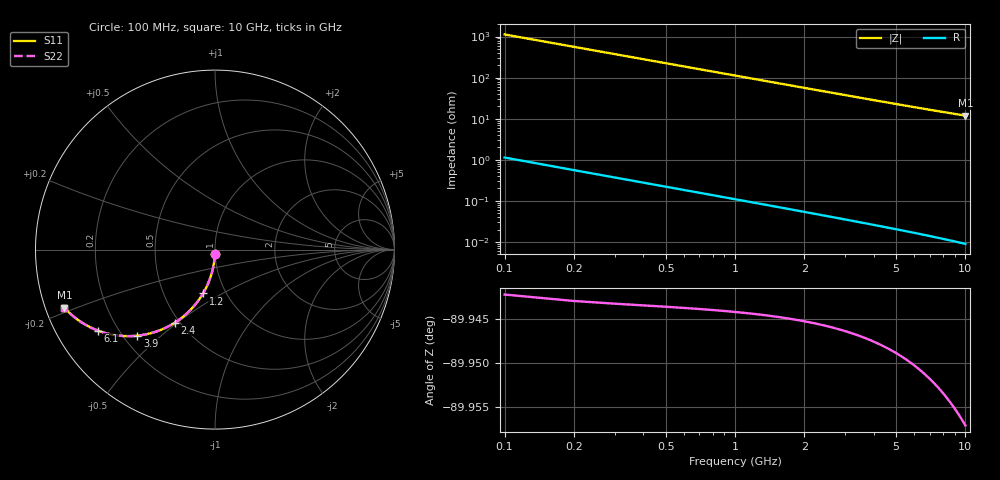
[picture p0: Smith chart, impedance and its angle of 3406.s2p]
# Hz S RI R 50.00
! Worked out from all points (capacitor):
!   100 points, 100 MHz to 10 GHz, reference 50 ohm
!   read as one part in shunt: C = 1.42 pF near 100 MHz
!   lowest |Z| = 11.9 ohm at 10 GHz (marker M1)
!   S11 on the Smith chart (normalised r, x): 100 MHz: 1.00, -0.04; 1.2 GHz: 0.78, -0.41; 2.4 GHz: 0.47, -0.49; 3.9 GHz: 0.26, -0.42; 6.1 GHz: 0.13, -0.31; 10 GHz: 0.05, -0.19
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1e8  -0.000418 -0.0218  0.9994 -0.0226  0.9994 -0.0226  -0.000418 -0.0218
2e8  -0.00192 -0.0436  0.9979 -0.0452  0.9979 -0.0452  -0.00192 -0.0436
3e8  -0.0044 -0.0653  0.9954 -0.0676  0.9954 -0.0676  -0.0044 -0.0653
4e8  -0.00784 -0.0867  0.992 -0.0898  0.992 -0.0898  -0.00784 -0.0867
5e8  -0.0122 -0.1079  0.9876 -0.1118  0.9876 -0.1118  -0.0122 -0.1079
6e8  -0.0175 -0.1288  0.9823 -0.1335  0.9823 -0.1335  -0.0175 -0.1288
7e8  -0.0237 -0.1493  0.9761 -0.1548  0.9761 -0.1548  -0.0237 -0.1493
9e8  -0.0386 -0.189  0.9611 -0.196  0.9611 -0.196  -0.0386 -0.189
1.2e9  -0.0667 -0.2445  0.933 -0.2539  0.933 -0.2539  -0.0667 -0.2445
1.5e9  -0.1005 -0.2945  0.8992 -0.3062  0.8992 -0.3062  -0.1005 -0.2945
1.8e9  -0.1386 -0.3382  0.8611 -0.3523  0.8611 -0.3523  -0.1386 -0.3382
2.1e9  -0.1798 -0.3754  0.8199 -0.3919  0.8199 -0.3919  -0.1798 -0.3754
2.4e9  -0.2227 -0.4063  0.7769 -0.4251  0.7769 -0.4251  -0.2227 -0.4063
2.9e9  -0.2952 -0.4443  0.7043 -0.4671  0.7043 -0.4671  -0.2952 -0.4443
3.4e9  -0.3658 -0.4678  0.6337 -0.4946  0.6337 -0.4946  -0.3658 -0.4678
3.9e9  -0.4319 -0.4795  0.5674 -0.5103  0.5674 -0.5103  -0.4319 -0.4795
5.1e9  -0.5667 -0.4747  0.4323 -0.5152  0.4323 -0.5152  -0.5667 -0.4747
6.1e9  -0.653 -0.4509  0.3456 -0.4997  0.3456 -0.4997  -0.653 -0.4509
6.7e9  -0.695 -0.4326  0.3033 -0.4864  0.3033 -0.4864  -0.695 -0.4326
7.5e9  -0.7417 -0.4063  0.2563 -0.4669  0.2563 -0.4669  -0.7417 -0.4063
8.4e9  -0.7838 -0.3761  0.2136 -0.4444  0.2136 -0.4444  -0.7838 -0.3761
1e10  -0.8387 -0.3243  0.1576 -0.4067  0.1576 -0.4067  -0.8387 -0.3243
